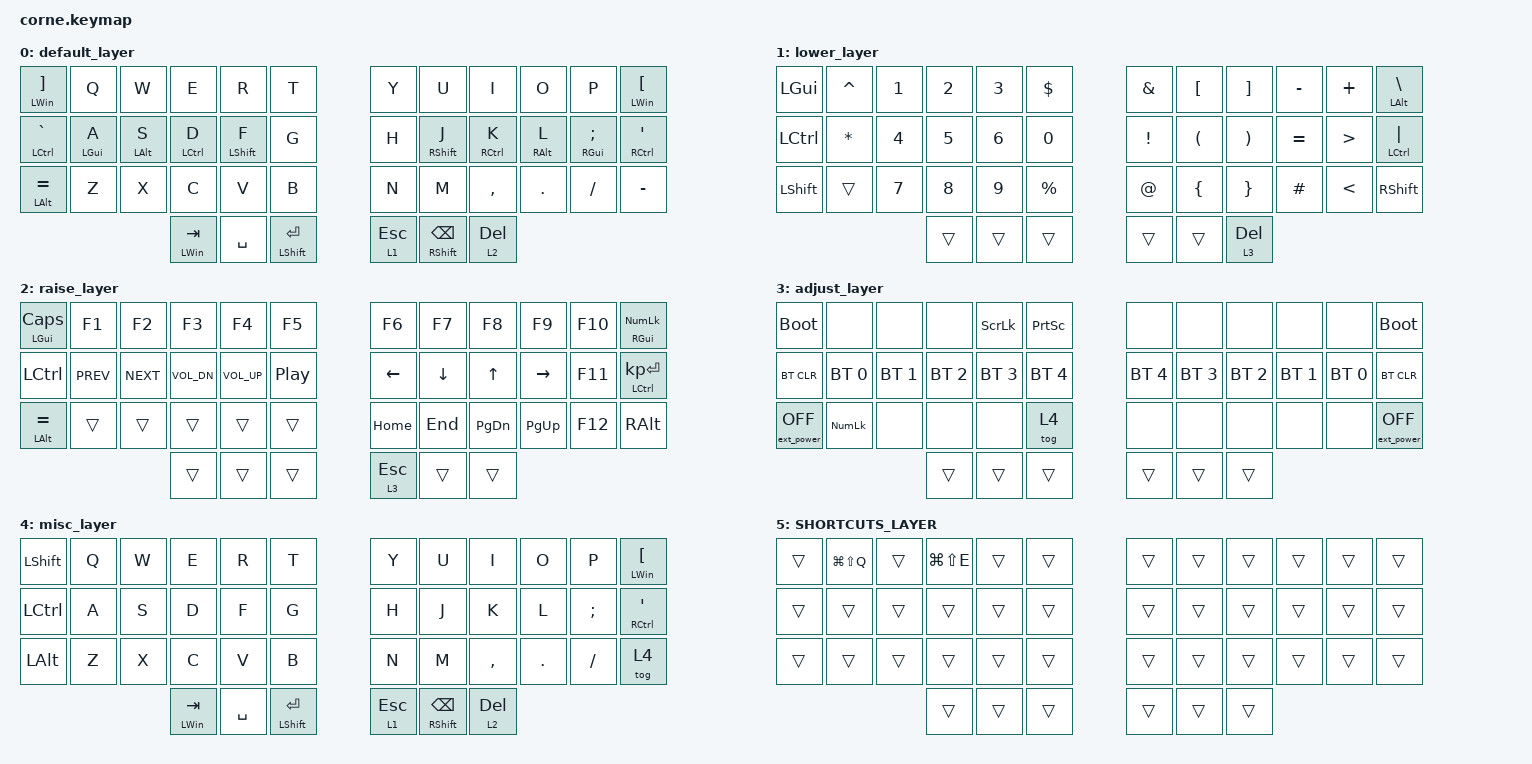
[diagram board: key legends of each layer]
/*
 * Copyright (c) 2020 The ZMK Contributors
 *
 * SPDX-License-Identifier: MIT
 */

#include <behaviors.dtsi>
#include <dt-bindings/zmk/bt.h>
#include <dt-bindings/zmk/ext_power.h>
#include <dt-bindings/zmk/keys.h>

#define DEF 0
#define LWR 1
#define RSE 2
#define ADJ 3
#define MSC 4

&lt {
    compatible = "zmk,behavior-hold-tap";
    flavor = "hold-preferred";
    tapping-term-ms = <200>;
    require-prior-idle-ms = <100>;
    quick-tap-ms = <175>;
};

&mt {
    compatible = "zmk,behavior-hold-tap";
    flavor = "tap-preferred";
    tapping-term-ms = <200>;
    require-prior-idle-ms = <180>;
    quick-tap-ms = <175>;
};

/ {
    behaviors {
        shift: shift {
            compatible = "zmk,behavior-hold-tap";
            flavor = "hold-preferred";
            tapping-term-ms = <200>;
            quick-tap-ms = <200>;
            #binding-cells = <2>;
            bindings = <&kp>, <&kp>;
        };

        hml: home_row_mod_left {
            compatible = "zmk,behavior-hold-tap";
            #binding-cells = <2>;
            flavor = "balanced";
            require-prior-idle-ms = <150>;
            tapping-term-ms = <280>;
            quick-tap-ms = <175>;
            bindings = <&kp>, <&kp>;

            hold-trigger-on-release;
            hold-trigger-key-positions = <16 15 14 13>;
        };

        hmr: home_row_mod_right {
            compatible = "zmk,behavior-hold-tap";
            #binding-cells = <2>;
            flavor = "balanced";
            require-prior-idle-ms = <150>;
            tapping-term-ms = <280>;
            quick-tap-ms = <175>;
            bindings = <&kp>, <&kp>;

            hold-trigger-on-release;
            hold-trigger-key-positions = <18 19 20 21>;
        };
    };

    combos {
        compatible = "zmk,combos";

        paste {
            bindings = <&kp LC(V)>;
            key-positions = <3 4>;
        };

        copy {
            bindings = <&kp LC(C)>;
            key-positions = <2 1>;
        };
    };

    keymap {
        compatible = "zmk,keymap";

        default_layer {
            bindings = <
&mt LWIN RBKT    &kp Q            &kp W            &kp E         &kp R          &kp T             &kp Y      &kp U               &kp I         &kp O             &kp P                &mt LWIN LBKT
&mt LCTRL GRAVE  &hml LEFT_GUI A  &hml LEFT_ALT S  &hml LCTRL D  &hml LSHIFT F  &kp G             &kp H      &hmr RIGHT_SHIFT J  &hmr RCTRL K  &hmr RIGHT_ALT L  &hmr RIGHT_GUI SEMI  &mt RCTRL SQT
&mt LALT EQUAL   &kp Z            &kp X            &kp C         &kp V          &kp B             &kp N      &kp M               &kp COMMA     &kp DOT           &kp FSLH             &kp MINUS
                                                   &mt LWIN TAB  &kp SPACE      &mt LSHIFT RET    &lt 1 ESC  &shift RSHIFT BSPC  &lt 2 DEL
            >;
        };

        lower_layer {
            bindings = <
&kp LGUI    &kp CARET  &kp N1  &kp N2  &kp N3  &kp DLLR     &kp AMPS  &kp LBKT  &kp RBKT   &kp MINUS  &kp PLUS  &mt LALT BSLH
&kp LCTRL   &kp STAR   &kp N4  &kp N5  &kp N6  &kp N0       &kp EXCL  &kp LPAR  &kp RPAR   &kp EQUAL  &kp GT    &mt LCTRL PIPE
&kp LSHIFT  &trans     &kp N7  &kp N8  &kp N9  &kp PRCNT    &kp AT    &kp LBRC  &kp RBRC   &kp HASH   &kp LT    &kp RSHIFT
                               &trans  &trans  &trans       &trans    &trans    &lt 3 DEL
            >;
        };

        raise_layer {
            bindings = <
&mt LEFT_GUI CAPS  &kp F1      &kp F2      &kp F3        &kp F4        &kp F5      &kp F6     &kp F7    &kp F8         &kp F9       &kp F10  &mt RIGHT_GUI KP_NUMLOCK
&kp LCTRL          &kp C_PREV  &kp C_NEXT  &kp C_VOL_DN  &kp C_VOL_UP  &kp C_PP    &kp LEFT   &kp DOWN  &kp UP         &kp RIGHT    &kp F11  &mt LCTRL KP_ENTER
&mt LALT EQUAL     &trans      &trans      &trans        &trans        &trans      &kp HOME   &kp END   &kp PAGE_DOWN  &kp PAGE_UP  &kp F12  &kp RALT
                                           &trans        &trans        &trans      &lt 3 ESC  &trans    &trans
            >;
        };

        adjust_layer {
            bindings = <
&bootloader        &none         &none         &none         &kp SCROLLLOCK  &kp PSCRN       &none         &none         &none         &none         &none         &bootloader
&bt BT_CLR         &bt BT_SEL 0  &bt BT_SEL 1  &bt BT_SEL 2  &bt BT_SEL 3    &bt BT_SEL 4    &bt BT_SEL 4  &bt BT_SEL 3  &bt BT_SEL 2  &bt BT_SEL 1  &bt BT_SEL 0  &bt BT_CLR
&ext_power EP_OFF  &kp KP_NUM    &none         &none         &none           &tog 4          &none         &none         &none         &none         &none         &ext_power EP_OFF
                                               &trans        &trans          &trans          &trans        &trans        &trans
            >;
        };

        misc_layer {
            bindings = <
&kp LSHIFT  &kp Q  &kp W  &kp E         &kp R      &kp T             &kp Y      &kp U               &kp I      &kp O    &kp P     &mt LWIN LBKT
&kp LCTRL   &kp A  &kp S  &kp D         &kp F      &kp G             &kp H      &kp J               &kp K      &kp L    &kp SEMI  &mt RCTRL SQT
&kp LALT    &kp Z  &kp X  &kp C         &kp V      &kp B             &kp N      &kp M               &kp COMMA  &kp DOT  &kp FSLH  &tog 4
                          &mt LWIN TAB  &kp SPACE  &mt LSHIFT RET    &lt 1 ESC  &shift RSHIFT BSPC  &lt 2 DEL
            >;
        };

        SHORTCUTS_LAYER {
            bindings = <
&trans  &kp LG(LS(Q))  &trans  &kp LG(LS(E))  &trans  &trans    &trans  &trans  &trans  &trans  &trans  &trans
&trans  &trans         &trans  &trans         &trans  &trans    &trans  &trans  &trans  &trans  &trans  &trans
&trans  &trans         &trans  &trans         &trans  &trans    &trans  &trans  &trans  &trans  &trans  &trans
                               &trans         &trans  &trans    &trans  &trans  &trans
            >;
        };
    };
};
